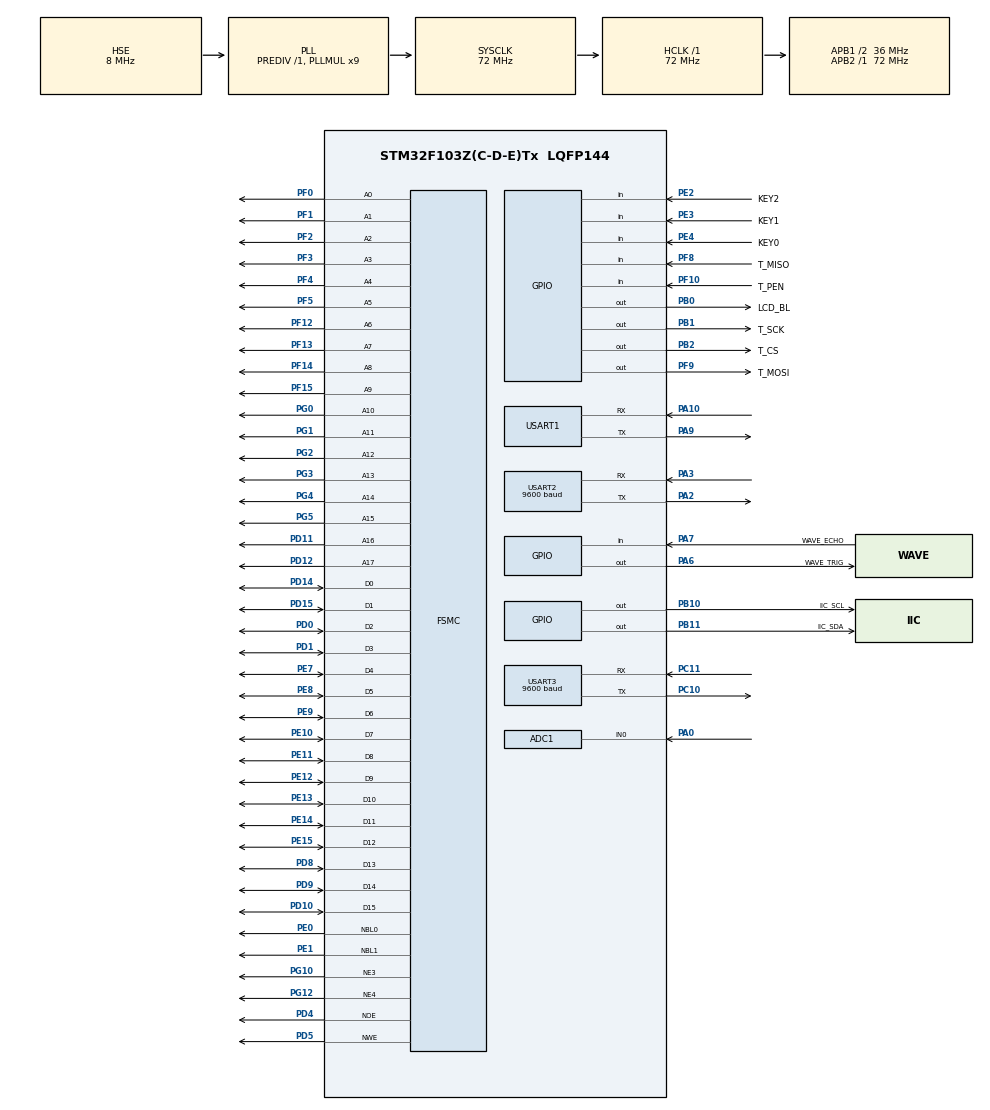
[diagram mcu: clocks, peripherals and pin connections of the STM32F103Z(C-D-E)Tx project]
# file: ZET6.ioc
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ADC1.Channel-0\#ChannelRegularConversion=ADC_CHANNEL_0
ADC1.EnableInjectedConversion=DISABLE
ADC1.NbrOfConversionFlag=1
ADC1.Rank-0\#ChannelRegularConversion=1
ADC1.SamplingTime-0\#ChannelRegularConversion=ADC_SAMPLETIME_1CYCLE_5
ADC1.master=1
FSMC.AddressSetupTime1=1
FSMC.AddressSetupTime2=0
FSMC.BusTurnAroundDuration1=0
FSMC.BusTurnAroundDuration2=0
FSMC.DataSetupTime1=2
FSMC.DataSetupTime2=3
FSMC.ExtendedAddressSetupTime1=1
FSMC.ExtendedBusTurnAroundDuration1=0
FSMC.ExtendedDataSetupTime1=15
FSMC.ExtendedMode1=FSMC_EXTENDED_MODE_ENABLE
FSMC.WriteOperation2=FSMC_WRITE_OPERATION_ENABLE
Mcu.Family=STM32F1
Mcu.Name=STM32F103Z(C-D-E)Tx
Mcu.Package=LQFP144
NVIC.PriorityGroup=NVIC_PRIORITYGROUP_4
NVIC.TIM2_IRQn=true\:0\:0\:false\:false\:true\:true\:true
NVIC.TIM3_IRQn=true\:1\:0\:true\:false\:true\:true\:true
NVIC.TIM4_IRQn=true\:2\:0\:true\:false\:true\:true\:true
NVIC.TIM6_IRQn=true\:3\:0\:true\:false\:true\:true\:true
NVIC.USART1_IRQn=true\:5\:0\:true\:false\:true\:true\:true
NVIC.USART2_IRQn=true\:0\:0\:false\:false\:true\:true\:true
NVIC.USART3_IRQn=true\:4\:0\:true\:false\:true\:true\:true
OSC_IN.Mode=HSE-External-Oscillator
OSC_IN.Signal=RCC_OSC_IN
OSC_OUT.Mode=HSE-External-Oscillator
OSC_OUT.Signal=RCC_OSC_OUT
PA0-WKUP.Signal=ADCx_IN0
PA10.Mode=Asynchronous
PA10.Signal=USART1_RX
PA13.Mode=Serial_Wire
PA13.Signal=SYS_JTMS-SWDIO
PA14.Mode=Serial_Wire
PA14.Signal=SYS_JTCK-SWCLK
PA2.Mode=Asynchronous
PA2.Signal=USART2_TX
PA3.Mode=Asynchronous
PA3.Signal=USART2_RX
PA6.GPIO_Label=WAVE_TRIG
PA6.Signal=GPIO_Output
PA7.GPIO_Label=WAVE_ECHO
PA7.Signal=GPIO_Input
PA9.Mode=Asynchronous
PA9.Signal=USART1_TX
PB0.GPIO_Label=LCD_BL
PB0.GPIO_PuPd=GPIO_NOPULL
PB0.GPIO_Speed=GPIO_SPEED_FREQ_HIGH
PB0.Signal=GPIO_Output
PB1.GPIO_Label=T_SCK
PB1.GPIO_PuPd=GPIO_PULLUP
PB1.GPIO_Speed=GPIO_SPEED_FREQ_HIGH
PB1.Signal=GPIO_Output
PB10.GPIO_Label=IIC_SCL
PB10.GPIO_Speed=GPIO_SPEED_FREQ_HIGH
PB10.Signal=GPIO_Output
PB11.GPIO_Label=IIC_SDA
PB11.GPIO_Speed=GPIO_SPEED_FREQ_HIGH
PB11.Signal=GPIO_Output
PB2.GPIO_Label=T_CS
PB2.GPIO_PuPd=GPIO_PULLUP
PB2.GPIO_Speed=GPIO_SPEED_FREQ_HIGH
PB2.Signal=GPIO_Output
PC10.Mode=Asynchronous
PC10.Signal=USART3_TX
PC11.Mode=Asynchronous
PC11.Signal=USART3_RX
PD0.Signal=FSMC_D2_DA2
PD1.Signal=FSMC_D3_DA3
PD10.Signal=FSMC_D15_DA15
PD11.Signal=FSMC_A16_CLE
PD12.Signal=FSMC_A17_ALE
PD14.Signal=FSMC_D0_DA0
PD15.Signal=FSMC_D1_DA1
PD4.Signal=FSMC_NOE
PD5.Signal=FSMC_NWE
PD8.Signal=FSMC_D13_DA13
PD9.Signal=FSMC_D14_DA14
PE0.Signal=FSMC_NBL0
PE1.Signal=FSMC_NBL1
PE10.Signal=FSMC_D7_DA7
PE11.Signal=FSMC_D8_DA8
PE12.Signal=FSMC_D9_DA9
PE13.Signal=FSMC_D10_DA10
PE14.Signal=FSMC_D11_DA11
PE15.Signal=FSMC_D12_DA12
PE2.GPIO_Label=KEY2
PE2.GPIO_PuPd=GPIO_PULLUP
PE2.Signal=GPIO_Input
PE3.GPIO_Label=KEY1
PE3.GPIO_PuPd=GPIO_PULLUP
PE3.Signal=GPIO_Input
PE4.GPIO_Label=KEY0
PE4.GPIO_PuPd=GPIO_PULLUP
PE4.Signal=GPIO_Input
PE7.Signal=FSMC_D4_DA4
PE8.Signal=FSMC_D5_DA5
PE9.Signal=FSMC_D6_DA6
PF0.Signal=FSMC_A0
PF1.Signal=FSMC_A1
PF10.GPIO_Label=T_PEN
PF10.GPIO_PuPd=GPIO_PULLUP
PF10.Signal=GPIO_Input
PF12.Signal=FSMC_A6
PF13.Signal=FSMC_A7
PF14.Signal=FSMC_A8
PF15.Signal=FSMC_A9
PF2.Signal=FSMC_A2
PF3.Signal=FSMC_A3
PF4.Signal=FSMC_A4
PF5.Signal=FSMC_A5
PF8.GPIO_Label=T_MISO
PF8.GPIO_PuPd=GPIO_PULLUP
PF8.Signal=GPIO_Input
PF9.GPIO_Label=T_MOSI
PF9.GPIO_PuPd=GPIO_PULLUP
PF9.GPIO_Speed=GPIO_SPEED_FREQ_HIGH
PF9.Signal=GPIO_Output
PG0.Signal=FSMC_A10
PG1.Signal=FSMC_A11
PG10.Mode=NorPsramChipSelect3_2
PG10.Signal=FSMC_NE3
PG12.Mode=NorPsramChipSelect4_1
PG12.Signal=FSMC_NE4
PG2.Signal=FSMC_A12
PG3.Signal=FSMC_A13
PG4.Signal=FSMC_A14
PG5.Signal=FSMC_A15
ProjectManager.HeapSize=0x200
ProjectManager.StackSize=0x800
ProjectManager.TargetToolchain=MDK-ARM V5
RCC.ADCPresc=RCC_ADCPCLK2_DIV6
RCC.AHBFreq_Value=72000000
RCC.APB1CLKDivider=RCC_HCLK_DIV2
RCC.APB1Freq_Value=36000000
RCC.APB1TimFreq_Value=72000000
RCC.APB2Freq_Value=72000000
RCC.APB2TimFreq_Value=72000000
RCC.HCLKFreq_Value=72000000
RCC.PLLMUL=RCC_PLL_MUL9
RCC.PLLSourceVirtual=RCC_PLLSOURCE_HSE
RCC.SYSCLKFreq_VALUE=72000000
RCC.SYSCLKSource=RCC_SYSCLKSOURCE_PLLCLK
RCC.USBFreq_Value=72000000
SH.ADCx_IN0.0=ADC1_IN0,IN0
SH.FSMC_A0.0=FSMC_A0,18b-a2
SH.FSMC_A1.0=FSMC_A1,18b-a2
SH.FSMC_A10.0=FSMC_A10,A10_1
SH.FSMC_A10.1=FSMC_A10,18b-a2
SH.FSMC_A11.0=FSMC_A11,18b-a2
SH.FSMC_A12.0=FSMC_A12,18b-a2
SH.FSMC_A13.0=FSMC_A13,18b-a2
SH.FSMC_A14.0=FSMC_A14,18b-a2
SH.FSMC_A15.0=FSMC_A15,18b-a2
SH.FSMC_A16_CLE.0=FSMC_A16,18b-a2
SH.FSMC_A17_ALE.0=FSMC_A17,18b-a2
SH.FSMC_A2.0=FSMC_A2,18b-a2
SH.FSMC_A3.0=FSMC_A3,18b-a2
SH.FSMC_A4.0=FSMC_A4,18b-a2
SH.FSMC_A5.0=FSMC_A5,18b-a2
SH.FSMC_A6.0=FSMC_A6,18b-a2
SH.FSMC_A7.0=FSMC_A7,18b-a2
SH.FSMC_A8.0=FSMC_A8,18b-a2
SH.FSMC_A9.0=FSMC_A9,18b-a2
SH.FSMC_D0_DA0.0=FSMC_D0,16b-d1
SH.FSMC_D0_DA0.1=FSMC_D0,16b-d2
SH.FSMC_D10_DA10.0=FSMC_D10,16b-d1
SH.FSMC_D10_DA10.1=FSMC_D10,16b-d2
SH.FSMC_D11_DA11.0=FSMC_D11,16b-d1
SH.FSMC_D11_DA11.1=FSMC_D11,16b-d2
SH.FSMC_D12_DA12.0=FSMC_D12,16b-d1
SH.FSMC_D12_DA12.1=FSMC_D12,16b-d2
SH.FSMC_D13_DA13.0=FSMC_D13,16b-d1
SH.FSMC_D13_DA13.1=FSMC_D13,16b-d2
SH.FSMC_D14_DA14.0=FSMC_D14,16b-d1
SH.FSMC_D14_DA14.1=FSMC_D14,16b-d2
SH.FSMC_D15_DA15.0=FSMC_D15,16b-d1
SH.FSMC_D15_DA15.1=FSMC_D15,16b-d2
SH.FSMC_D1_DA1.0=FSMC_D1,16b-d1
SH.FSMC_D1_DA1.1=FSMC_D1,16b-d2
SH.FSMC_D2_DA2.0=FSMC_D2,16b-d1
SH.FSMC_D2_DA2.1=FSMC_D2,16b-d2
SH.FSMC_D3_DA3.0=FSMC_D3,16b-d1
SH.FSMC_D3_DA3.1=FSMC_D3,16b-d2
SH.FSMC_D4_DA4.0=FSMC_D4,16b-d1
SH.FSMC_D4_DA4.1=FSMC_D4,16b-d2
SH.FSMC_D5_DA5.0=FSMC_D5,16b-d1
SH.FSMC_D5_DA5.1=FSMC_D5,16b-d2
SH.FSMC_D6_DA6.0=FSMC_D6,16b-d1
SH.FSMC_D6_DA6.1=FSMC_D6,16b-d2
SH.FSMC_D7_DA7.0=FSMC_D7,16b-d1
SH.FSMC_D7_DA7.1=FSMC_D7,16b-d2
SH.FSMC_D8_DA8.0=FSMC_D8,16b-d1
SH.FSMC_D8_DA8.1=FSMC_D8,16b-d2
SH.FSMC_D9_DA9.0=FSMC_D9,16b-d1
SH.FSMC_D9_DA9.1=FSMC_D9,16b-d2
SH.FSMC_NBL0.0=FSMC_NBL0,2ByteEnable2
SH.FSMC_NBL1.0=FSMC_NBL1,2ByteEnable2
SH.FSMC_NOE.0=FSMC_NOE,Lcd1
SH.FSMC_NOE.1=FSMC_NOE,Sram2
SH.FSMC_NWE.0=FSMC_NWE,Lcd1
SH.FSMC_NWE.1=FSMC_NWE,Sram2
TIM2.Period=1999
TIM2.Prescaler=71
TIM3.AutoReloadPreload=TIM_AUTORELOAD_PRELOAD_ENABLE
TIM3.Period=999
TIM3.Prescaler=71
TIM4.Period=9
TIM4.Prescaler=7199
TIM5.Prescaler=719
TIM6.AutoReloadPreload=TIM_AUTORELOAD_PRELOAD_ENABLE
TIM6.Period=999
TIM6.Prescaler=719
USART1.VirtualMode=VM_ASYNC
USART2.BaudRate=9600
USART2.VirtualMode=VM_ASYNC
USART3.BaudRate=9600
USART3.VirtualMode=VM_ASYNC
VP_CRC_VS_CRC.Mode=CRC_Activate
VP_TIM2_VS_ClockSourceINT.Mode=Internal
VP_TIM3_VS_ClockSourceINT.Mode=Internal
VP_TIM4_VS_ClockSourceINT.Mode=Internal
VP_TIM5_VS_ClockSourceINT.Mode=Internal
VP_TIM6_VS_ClockSourceINT.Mode=Enable_Timer
board=custom

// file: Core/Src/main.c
/* USER CODE BEGIN Header */
/**
  ******************************************************************************
  * @file           : main.c
  * @brief          : Main program body
  ******************************************************************************
  * @attention
  *
  * <h2><center>&copy; Copyright (c) 2021 STMicroelectronics.
  * All rights reserved.</center></h2>
  *
  * This software component is licensed by ST under BSD 3-Clause license,
  * the "License"; You may not use this file except in compliance with the
  * License. You may obtain a copy of the License at:
  *                        opensource.org/licenses/BSD-3-Clause
  *
  ******************************************************************************
  */
/* USER CODE END Header */
#include "main.h"
#include "adc.h"
#include "crc.h"
#include "tim.h"
#include "usart.h"
#include "gpio.h"
#include "fsmc.h"

/* USER CODE BEGIN Includes */
#include "sys.h"
#include "delay.h"
#include "ILI93xx.h"

#include "key.h"
#include "24cxx.h"
#include "touch.h"

#include "GUI.h"

#include "WindowDLG.h"

#include "malloc.h"

#include "PulseSensor.h"
#include "UltrasonicWave.h"
#include "stdio.h"

#include "hal_key.h"
#include "gizwits_product.h"
#include "common.h"
/* USER CODE END Includes */

/* USER CODE BEGIN PV */

#include <string.h>

#define RXBUFFERSIZE 256     //最大接收字节数
char RxBuffer[RXBUFFERSIZE];  //接收数据
uint8_t aRxBuffer;			//接收中断缓冲
uint8_t Uart3_Rx_Cnt = 0;		//接收缓冲计数

extern uint8_t bRxBuffer;			//接收中断缓冲

#define GPIO_KEY_NUM 2 ///< Defines the total number of key member
keyTypedef_t singleKey[GPIO_KEY_NUM]; ///< Defines a single key member array pointer
keysTypedef_t keys;

extern uint8_t bRxBuffer;
/* USER CODE END PV */

void SystemClock_Config(void);
/* USER CODE BEGIN PFP */

void sendDataToProcessing(char symbol, int dat );

/* USER CODE END PFP */

/* USER CODE BEGIN 0 */

/**
* key1 short press handle
* @param none
* @return none
*/
void key1ShortPress(void)
{
    GIZWITS_LOG("KEY1 PRESS ,Production Mode\n");
    gizwitsSetMode(WIFI_PRODUCTION_TEST);
}

/**
* key1 long press handle
* @param none
* @return none
*/
void key1LongPress(void)
{
    GIZWITS_LOG("KEY1 PRESS LONG ,Wifi Reset\n");
    gizwitsSetMode(WIFI_RESET_MODE);

}

/**
* key2 short press handle
* @param none
* @return none
*/
void key2ShortPress(void)
{
    GIZWITS_LOG("KEY2 PRESS ,Soft AP mode\n");
    #if !MODULE_TYPE
    gizwitsSetMode(WIFI_SOFTAP_MODE);
    #endif
}

/**
* key2 long press handle
* @param none
* @return none
*/
void key2LongPress(void)
{
    //AirLink mode
    GIZWITS_LOG("KEY2 PRESS LONG ,AirLink mode\n");
    #if !MODULE_TYPE
    gizwitsSetMode(WIFI_AIRLINK_MODE);
    #endif
	 GIZWITS_LOG("2353252\n");
}

/**
* Key init function
* @param none
* @return none
*/
void keyInit(void)
{
    singleKey[0] = keyInitOne(NULL, KEY1_GPIO_Port, KEY1_Pin, key1ShortPress, key1LongPress);
    singleKey[1] = keyInitOne(NULL, KEY2_GPIO_Port, KEY2_Pin, key2ShortPress, key2LongPress);
    keys.singleKey = (keyTypedef_t *)&singleKey;
    keyParaInit(&keys);
}

//清空屏幕并在右上角显示"RST"
void Load_Drow_Dialog(void)
{
	LCD_Clear(WHITE);//清屏
 	POINT_COLOR=BLUE;//设置字体为蓝色
	LCD_ShowString(lcddev.width-24,0,200,16,16,"RST");//显示清屏区域
  	POINT_COLOR=RED;//设置画笔蓝色
}
////////////////////////////////////////////////////////////////////////////////
//电容触摸屏专有部分
//画水平线
//x0,y0:坐标
//len:线长度
//color:颜色
void gui_draw_hline(u16 x0,u16 y0,u16 len,u16 color)
{
	if(len==0)return;
	LCD_Fill(x0,y0,x0+len-1,y0,color);
}
//画实心圆
//x0,y0:坐标
//r:半径
//color:颜色
void gui_fill_circle(u16 x0,u16 y0,u16 r,u16 color)
{
	u32 i;
	u32 imax = ((u32)r*707)/1000+1;
	u32 sqmax = (u32)r*(u32)r+(u32)r/2;
	u32 x=r;
	gui_draw_hline(x0-r,y0,2*r,color);
	for (i=1;i<=imax;i++)
	{
		if ((i*i+x*x)>sqmax)// draw lines from outside
		{
 			if (x>imax)
			{
				gui_draw_hline (x0-i+1,y0+x,2*(i-1),color);
				gui_draw_hline (x0-i+1,y0-x,2*(i-1),color);
			}
			x--;
		}
		// draw lines from inside (center)
		gui_draw_hline(x0-x,y0+i,2*x,color);
		gui_draw_hline(x0-x,y0-i,2*x,color);
	}
}
//两个数之差的绝对值
//x1,x2：需取差值的两个数
//返回值：|x1-x2|
u16 my_abs(u16 x1,u16 x2)
{
	if(x1>x2)return x1-x2;
	else return x2-x1;
}
//画一条粗线
//(x1,y1),(x2,y2):线条的起始坐标
//size：线条的粗细程度
//color：线条的颜色
void lcd_draw_bline(u16 x1, u16 y1, u16 x2, u16 y2,u8 size,u16 color)
{
	u16 t;
	int xerr=0,yerr=0,delta_x,delta_y,distance;
	int incx,incy,uRow,uCol;
	if(x1<size|| x2<size||y1<size|| y2<size)return;
	delta_x=x2-x1; //计算坐标增量
	delta_y=y2-y1;
	uRow=x1;
	uCol=y1;
	if(delta_x>0)incx=1; //设置单步方向
	else if(delta_x==0)incx=0;//垂直线
	else {incx=-1;delta_x=-delta_x;}
	if(delta_y>0)incy=1;
	else if(delta_y==0)incy=0;//水平线
	else{incy=-1;delta_y=-delta_y;}
	if( delta_x>delta_y)distance=delta_x; //选取基本增量坐标轴
	else distance=delta_y;
	for(t=0;t<=distance+1;t++ )//画线输出
	{
		gui_fill_circle(uRow,uCol,size,color);//画点
		xerr+=delta_x ;
		yerr+=delta_y ;
		if(xerr>distance)
		{
			xerr-=distance;
			uRow+=incx;
		}
		if(yerr>distance)
		{
			yerr-=distance;
			uCol+=incy;
		}
	}
}
////////////////////////////////////////////////////////////////////////////////
//5个触控点的颜色(电容触摸屏用)
const u16 POINT_COLOR_TBL[5]={RED,GREEN,BLUE,BROWN,GRED};
////电阻触摸屏测试函数
//void rtp_test(void)
//{
//	u8 key;
//	u8 i=0;
//	while(1)
//	{
//	 	key=KEY_Scan(0);
//		tp_dev.scan(0);
//		if(tp_dev.sta&TP_PRES_DOWN)			//触摸屏被按下
//		{
//		 	if(tp_dev.x[0]<lcddev.width&&tp_dev.y[0]<lcddev.height)
//			{
//				if(tp_dev.x[0]>(lcddev.width-24)&&tp_dev.y[0]<16)Load_Drow_Dialog();//清除
//				else TP_Draw_Big_Point(tp_dev.x[0],tp_dev.y[0],RED);		//画图
//			}
//		}else delay_ms(10);	//没有按键按下的时候
//		if(key==KEY0_PRES)	//KEY0按下,则执行校准程序
//		{
//			LCD_Clear(WHITE);	//清屏
//		    TP_Adjust();  		//屏幕校准
//			TP_Save_Adjdata();
//			Load_Drow_Dialog();
//		}
//		i++;
//	}
//}
//电容触摸屏测试函数
void ctp_test(void)
{
	u8 t=0;
	u8 i=0;
 	u16 lastpos[5][2];		//最后一次的数据
	while(1)
	{
		tp_dev.scan(0);
		for(t=0;t<5;t++)
		{
			if((tp_dev.sta)&(1<<t))
			{
                //printf("X坐标:%d,Y坐标:%d\r\n",tp_dev.x[0],tp_dev.y[0]);
				if(tp_dev.x[t]<lcddev.width&&tp_dev.y[t]<lcddev.height)
				{
					if(lastpos[t][0]==0XFFFF)
					{
						lastpos[t][0] = tp_dev.x[t];
						lastpos[t][1] = tp_dev.y[t];
					}

					lcd_draw_bline(lastpos[t][0],lastpos[t][1],tp_dev.x[t],tp_dev.y[t],2,POINT_COLOR_TBL[t]);//画线
					lastpos[t][0]=tp_dev.x[t];
					lastpos[t][1]=tp_dev.y[t];
					if(tp_dev.x[t]>(lcddev.width-24)&&tp_dev.y[t]<20)
					{
						Load_Drow_Dialog();//清除
					}
				}
			}else lastpos[t][0]=0XFFFF;
		}

		delay_ms(5);i++;
	}
}

//触摸屏定位设置
void Mytouch_MainTask(void)
{
    GUI_PID_STATE TouchState;
    int xPhys;
    int yPhys;
    GUI_Init();
    GUI_SetFont(&GUI_Font20_ASCII);

   	GUI_CURSOR_Show();/////在这出问题
    GUI_CURSOR_Select(&GUI_CursorCrossL);/////

    GUI_SetBkColor(GUI_WHITE);
    GUI_SetColor(GUI_BLACK);
    GUI_Clear();
    GUI_DispString("Measurement of\nA/D converter values");
    while (1)
    {
        GUI_TOUCH_GetState(&TouchState); // Get the touch position in pixel
        xPhys = GUI_TOUCH_GetxPhys(); // Get the A/D mesurement result in x
        yPhys = GUI_TOUCH_GetyPhys(); // Get the A/D mesurement result in y
        GUI_SetColor(GUI_BLUE);
        GUI_DispStringAt("Analog input:\n", 0, 40);
        GUI_GotoY(GUI_GetDispPosY() + 2);
        GUI_DispString("x:");
        GUI_DispDec(xPhys, 4);
        GUI_DispString(", y:");
        GUI_DispDec(yPhys, 4);
        GUI_SetColor(GUI_RED);
        GUI_GotoY(GUI_GetDispPosY() + 4);
        GUI_DispString("\nPosition:\n");
        GUI_GotoY(GUI_GetDispPosY() + 2);
        GUI_DispString("x:");
        GUI_DispDec(TouchState.x,4);
        GUI_DispString(", y:");
        GUI_DispDec(TouchState.y,4);
        delay_ms(50);
    }
}
/* USER CODE END 0 */

int main(void)
{

  /* MCU Configuration--------------------------------------------------------*/

  /* Reset of all peripherals, Initializes the Flash interface and the Systick. */
  HAL_Init();

  /* Configure the system clock */
  SystemClock_Config();

  /* Initialize all configured peripherals */
  MX_GPIO_Init();
  MX_FSMC_Init();
  MX_USART1_UART_Init();
  MX_CRC_Init();
  MX_TIM3_Init();
  MX_TIM6_Init();
  MX_ADC1_Init();
  MX_TIM2_Init();
  MX_TIM5_Init();
  MX_USART3_UART_Init();
  MX_TIM4_Init();
  MX_USART2_UART_Init();
  /* USER CODE BEGIN 2 */
  delay_init(72);               		//初始化延时函数
	TFTLCD_Init();           				//初始化LCD FSMC接口

	tp_dev.init();				   		//触摸屏初始化

		my_mem_init(SRAMIN); 		//初始化内部内存池
	my_mem_init(SRAMEX);  		//初始化外部内存池
//
		GUI_Init();

// KEY_Init();
 LED_Init();

	HAL_TIM_Base_Start_IT(&htim2);

	HAL_TIM_Base_Start_IT(&htim3);

  HAL_TIM_Base_Start_IT(&htim6);

	HAL_TIM_Base_Start_IT(&htim4);
//  HAL_UART_Receive_IT(&huart1,OT_RxBuffer,1);

//	HAL_UART_Receive_IT(&huart1, (uint8_t *)&aRxBuffer, 1);
	HAL_UART_Receive_IT(&huart3, (uint8_t *)&aRxBuffer, 1);

//HAL_UART_Receive_IT(&huart2, (uint8_t *)&bRxBuffer, 1);//开启下一次接收中断
//HAL_UART_Receive_IT(&huart2, (uint8_t *)&aRxBuffer, 1);//开启下一次接收中断
 uartInit();

	userInit();
	gizwitsInit();
	keyInit();
	GIZWITS_LOG("MCU Init Success \n");

  /* USER CODE END 2 */

  /* Infinite loop */
  /* USER CODE BEGIN WHILE */
//  while (1)
//  {
//
    /* USER CODE END WHILE */

    /* USER CODE BEGIN 3 */

//	GUI_SetBkColor(GUI_BLUE);   //设置背景颜色
//  GUI_SetColor(GUI_YELLOW);   //设置颜色
//  GUI_Clear();                //清屏
//  GUI_SetFont(&GUI_Font24_ASCII); //设置字体
//  GUI_DispStringAt("HELLO WORD!", 0, 0);

// GUI_TOUCH_Exec();
//  Mytouch_MainTask();

CreateWindow();

//		GUI_TOUCH_Exec();
//		GUI_Delay(50);
//GUI_Exec();

//    GIZWITS_LOG("KEY2 PRESS LONG ,AirLink mode\n");
//    #if !MODULE_TYPE
//    gizwitsSetMode(WIFI_AIRLINK_MODE);
//    #endif
//	 GIZWITS_LOG("2353252\n");

//	    GIZWITS_LOG("KEY2 PRESS ,Soft AP mode\n");
//    #if !MODULE_TYPE
//    gizwitsSetMode(WIFI_SOFTAP_MODE);
//    #endif
//   GIZWITS_LOG("aasdsfafaa");

while (1)
{

  GUI_Exec();
	if (beat_flag == 1)
	{

		SendDataSBQ();

//			 FUN_ICON0Clicked();

//		  printf("666\n");
	}

	else if (height_flag == 1)
	{
							UltrasonicWave_StartMeasure();

	  UltrasonicWave_printf();
	}

//	  else if (wifi_flag == 1)
//  {

	 userHandle();
//				printf ("well");
		gizwitsHandle((dataPoint_t *)&currentDataPoint);
//  }

}

//	}

//	 /*触摸屏测试函数*/
//  	POINT_COLOR=RED;
//	LCD_ShowString(30,50,200,16,16,"WarShip STM32");
//	LCD_ShowString(30,70,200,16,16,"TOUCH TEST");
//	LCD_ShowString(30,90,200,16,16,"ATOM@ALIENTEK");
//	LCD_ShowString(30,110,200,16,16,"2019/9/19");
//   	if(tp_dev.touchtype!=0XFF)
//	{
//		LCD_ShowString(30,130,200,16,16,"Press KEY0 to Adjust");//电阻屏才显示
//	}
//	delay_ms(1500);
// 	Load_Drow_Dialog();
//
//	if(tp_dev.touchtype&0X80)ctp_test();//电容屏测试
//	else rtp_test(); 					//电阻屏测试
//

  /* USER CODE END 3 */
}

void SystemClock_Config(void)
{
  RCC_OscInitTypeDef RCC_OscInitStruct = {0};
  RCC_ClkInitTypeDef RCC_ClkInitStruct = {0};
  RCC_PeriphCLKInitTypeDef PeriphClkInit = {0};

  /** Initializes the RCC Oscillators according to the specified parameters
  * in the RCC_OscInitTypeDef structure.
  */
  RCC_OscInitStruct.OscillatorType = RCC_OSCILLATORTYPE_HSE;
  RCC_OscInitStruct.HSEState = RCC_HSE_ON;
  RCC_OscInitStruct.HSEPredivValue = RCC_HSE_PREDIV_DIV1;
  RCC_OscInitStruct.HSIState = RCC_HSI_ON;
  RCC_OscInitStruct.PLL.PLLState = RCC_PLL_ON;
  RCC_OscInitStruct.PLL.PLLSource = RCC_PLLSOURCE_HSE;
  RCC_OscInitStruct.PLL.PLLMUL = RCC_PLL_MUL9;
  if (HAL_RCC_OscConfig(&RCC_OscInitStruct) != HAL_OK)
  {
    Error_Handler();
  }
  /** Initializes the CPU, AHB and APB buses clocks
  */
  RCC_ClkInitStruct.ClockType = RCC_CLOCKTYPE_HCLK|RCC_CLOCKTYPE_SYSCLK
                              |RCC_CLOCKTYPE_PCLK1|RCC_CLOCKTYPE_PCLK2;
  RCC_ClkInitStruct.SYSCLKSource = RCC_SYSCLKSOURCE_PLLCLK;
  RCC_ClkInitStruct.AHBCLKDivider = RCC_SYSCLK_DIV1;
  RCC_ClkInitStruct.APB1CLKDivider = RCC_HCLK_DIV2;
  RCC_ClkInitStruct.APB2CLKDivider = RCC_HCLK_DIV1;

  if (HAL_RCC_ClockConfig(&RCC_ClkInitStruct, FLASH_LATENCY_2) != HAL_OK)
  {
    Error_Handler();
  }
  PeriphClkInit.PeriphClockSelection = RCC_PERIPHCLK_ADC;
  PeriphClkInit.AdcClockSelection = RCC_ADCPCLK2_DIV6;
  if (HAL_RCCEx_PeriphCLKConfig(&PeriphClkInit) != HAL_OK)
  {
    Error_Handler();
  }
}

/* USER CODE BEGIN 4 */

void HAL_TIM_PeriodElapsedCallback(TIM_HandleTypeDef *htim)
{

	if (htim == (&htim2))
//	if(htim->Instance==htim2.Instance)
	{
	PulseSensor_CallBack();
	}

    else if (htim == (&htim3))
    {
     OS_TimeMS++;
//
//			if (OS_TimeMS > 1000)
//			{
////				GUI_TOUCH_Exec();
//
////					GUI_Exec();
//////			HAL_GPIO_TogglePin(GPIOE, GPIO_PIN_5);
//				OS_TimeMS = 0;
//			}
    }
		else if (htim == (&htim6))
		{
		GUI_TOUCH_Exec();

//					GUI_Exec();

//			if (OS_TimeMS > 500)
//			{
//					HAL_GPIO_TogglePin(GPIOB, GPIO_PIN_5);

////				OS_TimeMS = 0;
//			}

		}

	else if(htim==&htim4)
	{
//				printf ("well");
			keyHandle((keysTypedef_t *)&keys);
			gizTimerMs();
	}

}

//void HAL_UART_RxCpltCallback(UART_HandleTypeDef *huart)
//{
//	if (huart == (&huart1))
//	{
//
//   if (OT_RxBuffer == "1")
//	 {
//		 HAL_UART_Transmit(&huart1, OT_RxBuffer, 1, 1000);
////	 printf("获得数据");
//	 }
// }
//
//  HAL_UART_Receive_IT(&huart1,OT_RxBuffer,1);
//}

void HAL_UART_RxCpltCallback(UART_HandleTypeDef *huart)
{
  /* Prevent unused argument(s) compilation warning */
  UNUSED(huart);
  /* NOTE: This function Should not be modified, when the callback is needed,
           the HAL_UART_TxCpltCallback could be implemented in the user file
   */

	if (huart == (&huart3))
{

	if(Uart3_Rx_Cnt >= 255)  //溢出判断
	{
		Uart3_Rx_Cnt = 0;
		memset(RxBuffer,0x00,sizeof(RxBuffer));
		HAL_UART_Transmit(&huart1, (uint8_t *)"数据溢出", 10,0xFFFF);

	}
	else
	{
		RxBuffer[Uart3_Rx_Cnt++] = aRxBuffer;   //接收数据转存

		if((RxBuffer[Uart3_Rx_Cnt-1] == 0x0A)&&(RxBuffer[Uart3_Rx_Cnt-2] == 0x0D)) //判断结束位
		{
//			HAL_UART_Transmit(&huart1, (uint8_t *)&RxBuffer, Uart1_Rx_Cnt,0xFFFF); //将收到的信息发送出去

			if (RxBuffer[0] == 0x31)
			{
         printf ("心率指令\r\n");
				RxBuffer[0] = 0x00;
				beat_flag = 1;
			  height_flag = 0;
							FUN_ICON0Clicked();
			}

			else if (RxBuffer[0] == 0x32)
			{
         printf ("身高指令\r\n");
				RxBuffer[0] = 0x00;
			   height_flag = 1;
			   beat_flag = 0;
							FUN_ICON1Clicked();
			}

			else if (RxBuffer[0] == 0x33)
			{
         printf ("血压指令\r\n");
				RxBuffer[0] = 0x00;
			}

			else if (RxBuffer[0] == 0x34)
			{
         printf ("体重指令\r\n");
				RxBuffer[0] = 0x00;
			}

			else if (RxBuffer[0] == 0x35)
			{
         printf ("无线指令\r\n");
				RxBuffer[0] = 0x00;
				   wifi_flag = 1;
		      	beat_flag = 0;
			     height_flag = 0;
			}

			while(HAL_UART_GetState(&huart3) == HAL_UART_STATE_BUSY_TX);//检测UART发送结束
			Uart3_Rx_Cnt = 0;
			memset(RxBuffer,0x00,sizeof(RxBuffer)); //清空数组

		}
	}

	HAL_UART_Receive_IT(&huart3, (uint8_t *)&aRxBuffer, 1);   //再开启接收中断
	}

	 if(huart == (&huart2))
    {
//				gizPutData((uint8_t *)&bRxBuffer, 1);

//        HAL_UART_Receive_IT(&huart2, (uint8_t *)&bRxBuffer, 1);//开启下一次接收中断
//
      gizPutData((uint8_t *)&bRxBuffer, 1);
			HAL_UART_Receive_IT(&huart2, (uint8_t *)&bRxBuffer, 1);//开启下一次接收中断

		}

}

/* USER CODE END 4 */

void Error_Handler(void)
{
  __disable_irq();
  while (1)
  {
  }
}

/************************ (C) COPYRIGHT STMicroelectronics *****END OF FILE****/
